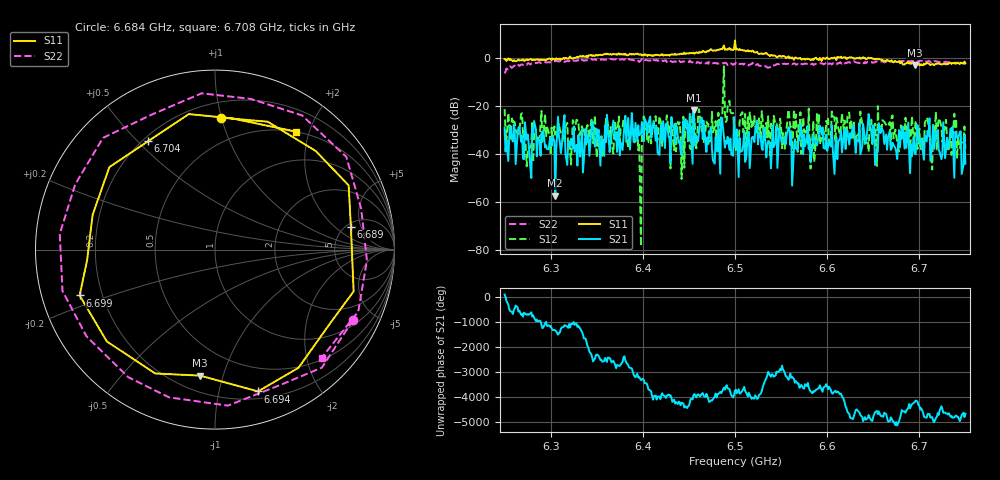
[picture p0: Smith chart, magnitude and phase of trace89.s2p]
# Hz S RI R 50
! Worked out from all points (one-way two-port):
!   401 points, 6.25 GHz to 6.75 GHz, reference 50 ohm
!   highest |S21| = -21.56 dB at 6.455 GHz (marker M1); lowest = -57.4 dB at 6.305 GHz (marker M2)
!   lowest |S11| = -3.0 dB at 6.695 GHz (marker M3), VSWR 5.83, Z = 15 - j42.2 ohm
!   |S11| at or under -10 dB: nowhere
!   |S22| runs from -6.4 to -0.2 dB; largest |S21 - S12| = 0.7
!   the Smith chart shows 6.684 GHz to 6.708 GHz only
!   S11 on the Smith chart (normalised r, x): 6.684 GHz: 0.31, +1.00; 6.689 GHz: 5.51, +3.35; 6.694 GHz: 0.26, -1.31; 6.699 GHz: 0.12, -0.16; 6.704 GHz: 0.22, +0.54; 6.708 GHz: 0.50, +1.80
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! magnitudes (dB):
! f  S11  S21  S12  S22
! 6.25 GHz  -0.5  -29.0  -21.3  -6.4
! 6.276 GHz  -0.7  -35.2  -37.2  -2.1
! 6.305 GHz  -0.7  -57.4  -31.9  -1.3
! 6.334 GHz  0.6  -29.7  -28.4  -0.7
! 6.379 GHz  1.8  -32.8  -25.1  -0.6
! 6.398 GHz  1.6  -31.6  -78.5  -0.9
! 6.401 GHz  1.2  -34.7  -24.3  -0.5
! 6.418 GHz  1.1  -40.4  -24.2  -0.7
! 6.455 GHz  2.3  -21.6  -29.9  -1.9
! 6.49 GHz  3.6  -34.6  -26.6  -2.0
! 6.5 GHz  7.4  -37.0  -31.4  -2.5
! 6.559 GHz  -0.1  -29.0  -24.6  -2.6
! 6.584 GHz  -0.4  -36.6  -32.8  -2.3
! 6.668 GHz  -1.3  -30.3  -26.7  -1.4
! 6.684 GHz  -2.7  -37.7  -32.0  -1.3
! 6.689 GHz  -2.3  -39.1  -29.2  -1.3
! 6.694 GHz  -1.7  -32.7  -35.5  -1.2
! 6.695 GHz  -3.0  -39.7  -31.4  -1.3
! 6.699 GHz  -2.0  -34.3  -35.0  -1.2
! 6.704 GHz  -3.0  -39.5  -33.4  -1.5
! 6.708 GHz  -2.0  -34.8  -24.7  -1.5
! 6.75 GHz  -2.1  -44.1  -37.9  -2.4
